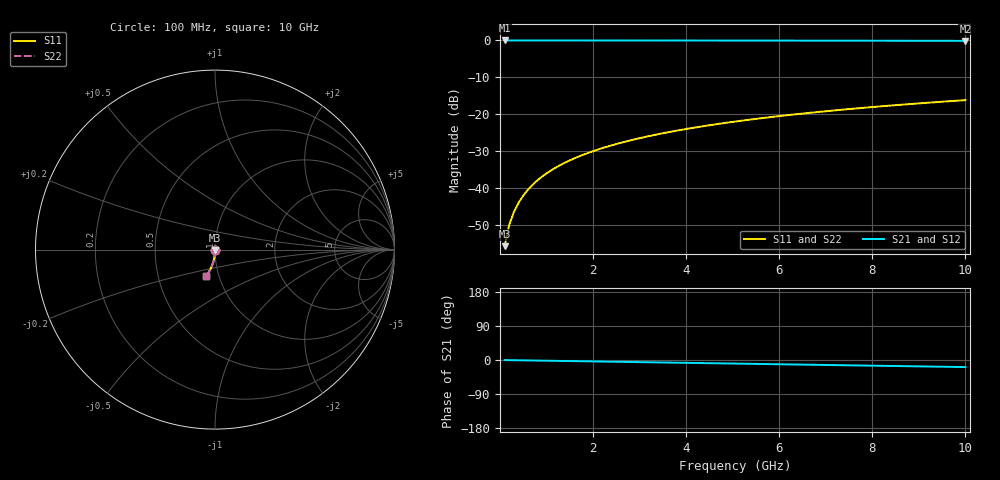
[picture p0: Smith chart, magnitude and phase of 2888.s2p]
# Hz S RI R 50.00
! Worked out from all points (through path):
!   100 points, 100 MHz to 10 GHz, reference 50 ohm
!   highest |S21| = 0.00 dB at 100 MHz (marker M1); lowest = -0.1 dB at 10 GHz (marker M2)
!   group delay of S21, straight-line fit = 5.19 ps
!   lowest |S11| = -55.7 dB at 100 MHz (marker M3), VSWR 1.00, Z = 50 - j0.159 ohm
!   |S11| at or under -10 dB: start of sweep to end of sweep
!   |S22| runs from -55.7 to -16.2 dB; largest |S21 - S12| = 0
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1e8  0.000414 -0.00158  0.9996 -0.00326  0.9996 -0.00326  0.000414 -0.00158
2e8  0.000399 -0.00317  0.9995 -0.00652  0.9995 -0.00652  0.000399 -0.00317
3e8  0.000373 -0.00475  0.9995 -0.00979  0.9995 -0.00979  0.000373 -0.00475
4e8  0.000336 -0.00634  0.9995 -0.013  0.9995 -0.013  0.000336 -0.00634
5e8  0.000289 -0.00792  0.9994 -0.0163  0.9994 -0.0163  0.000289 -0.00792
6e8  0.000231 -0.0095  0.9993 -0.0196  0.9993 -0.0196  0.000231 -0.0095
7e8  0.000163 -0.0111  0.9992 -0.0228  0.9992 -0.0228  0.000163 -0.0111
8e8  8.4e-05 -0.0127  0.9991 -0.0261  0.9991 -0.0261  8.4e-05 -0.0127
9e8  -5.07e-06 -0.0143  0.999 -0.0294  0.999 -0.0294  -5.07e-06 -0.0143
1.1e9  -0.000214 -0.0174  0.9987 -0.0359  0.9987 -0.0359  -0.000214 -0.0174
1.4e9  -0.000606 -0.0222  0.9982 -0.0457  0.9982 -0.0457  -0.000606 -0.0222
1.8e9  -0.00127 -0.0285  0.9974 -0.0587  0.9974 -0.0587  -0.00127 -0.0285
2.1e9  -0.00188 -0.0332  0.9966 -0.0684  0.9966 -0.0684  -0.00188 -0.0332
2.5e9  -0.00284 -0.0395  0.9954 -0.0814  0.9954 -0.0814  -0.00284 -0.0395
2.9e9  -0.00396 -0.0457  0.994 -0.0944  0.994 -0.0944  -0.00396 -0.0457
3.4e9  -0.00558 -0.0535  0.9919 -0.1106  0.9919 -0.1106  -0.00558 -0.0535
4.2e9  -0.00871 -0.0658  0.9879 -0.1364  0.9879 -0.1364  -0.00871 -0.0658
5.1e9  -0.013 -0.0794  0.9824 -0.1651  0.9824 -0.1651  -0.013 -0.0794
5.9e9  -0.0175 -0.0913  0.9767 -0.1905  0.9767 -0.1905  -0.0175 -0.0913
6.7e9  -0.0225 -0.1029  0.9701 -0.2156  0.9701 -0.2156  -0.0225 -0.1029
8.4e9  -0.0353 -0.1265  0.9537 -0.2681  0.9537 -0.2681  -0.0353 -0.1265
1e10  -0.0495 -0.1473  0.9351 -0.3161  0.9351 -0.3161  -0.0495 -0.1473
